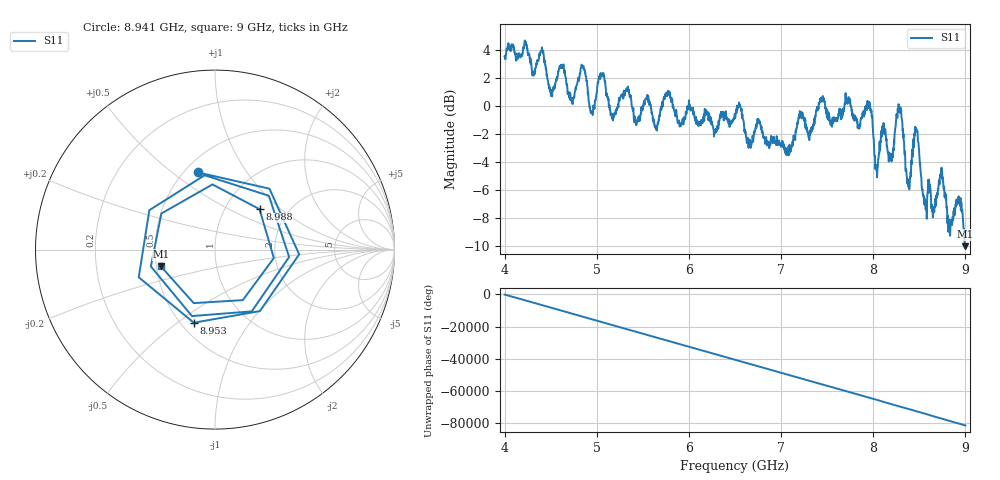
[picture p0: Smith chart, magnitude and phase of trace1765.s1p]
! Created with skrf 1.8.0 (http://scikit-rf.org).
# Hz S RI R 50.0
!freq ReS11 ImS11
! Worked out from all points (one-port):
!   1601 points, 4 GHz to 9 GHz, reference 50 ohm
!   lowest |S11| = -10.0 dB at 9 GHz (marker M1), VSWR 1.92, Z = 26.4 - j5.49 ohm
!   |S11| at or under -10 dB: 8.999731 GHz to end of sweep
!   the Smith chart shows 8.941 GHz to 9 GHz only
!   S11 on the Smith chart (normalised r, x): 8.941 GHz: 0.58, +0.62; 8.953 GHz: 0.58, -0.58; 8.988 GHz: 1.44, +0.73; 9 GHz: 0.53, -0.11
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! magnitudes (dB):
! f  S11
! 4 GHz  3.6
! 4.4 GHz  4.0
! 4.509 GHz  0.9
! 4.625 GHz  2.8
! 4.734 GHz  0.2
! 4.85 GHz  2.8
! 4.944 GHz  -0.5
! 5.047 GHz  2.3
! 5.162 GHz  -0.7
! 5.25 GHz  0.5
! 5.875 GHz  -1.0
! 6.5 GHz  -0.8
! 7.125 GHz  -2.5
! 7.75 GHz  0.5
! 7.956 GHz  0.1
! 8.038 GHz  -4.2
! 8.109 GHz  -1.8
! 8.194 GHz  -3.4
! 8.291 GHz  -0.5
! 8.375 GHz  -5.5
! 8.466 GHz  -1.6
! 8.559 GHz  -6.6
! 8.734 GHz  -5.1
! 8.831 GHz  -8.5
! 8.941 GHz  -7.1
! 8.953 GHz  -7.5
! 8.988 GHz  -9.5
! 9 GHz  -10.0
